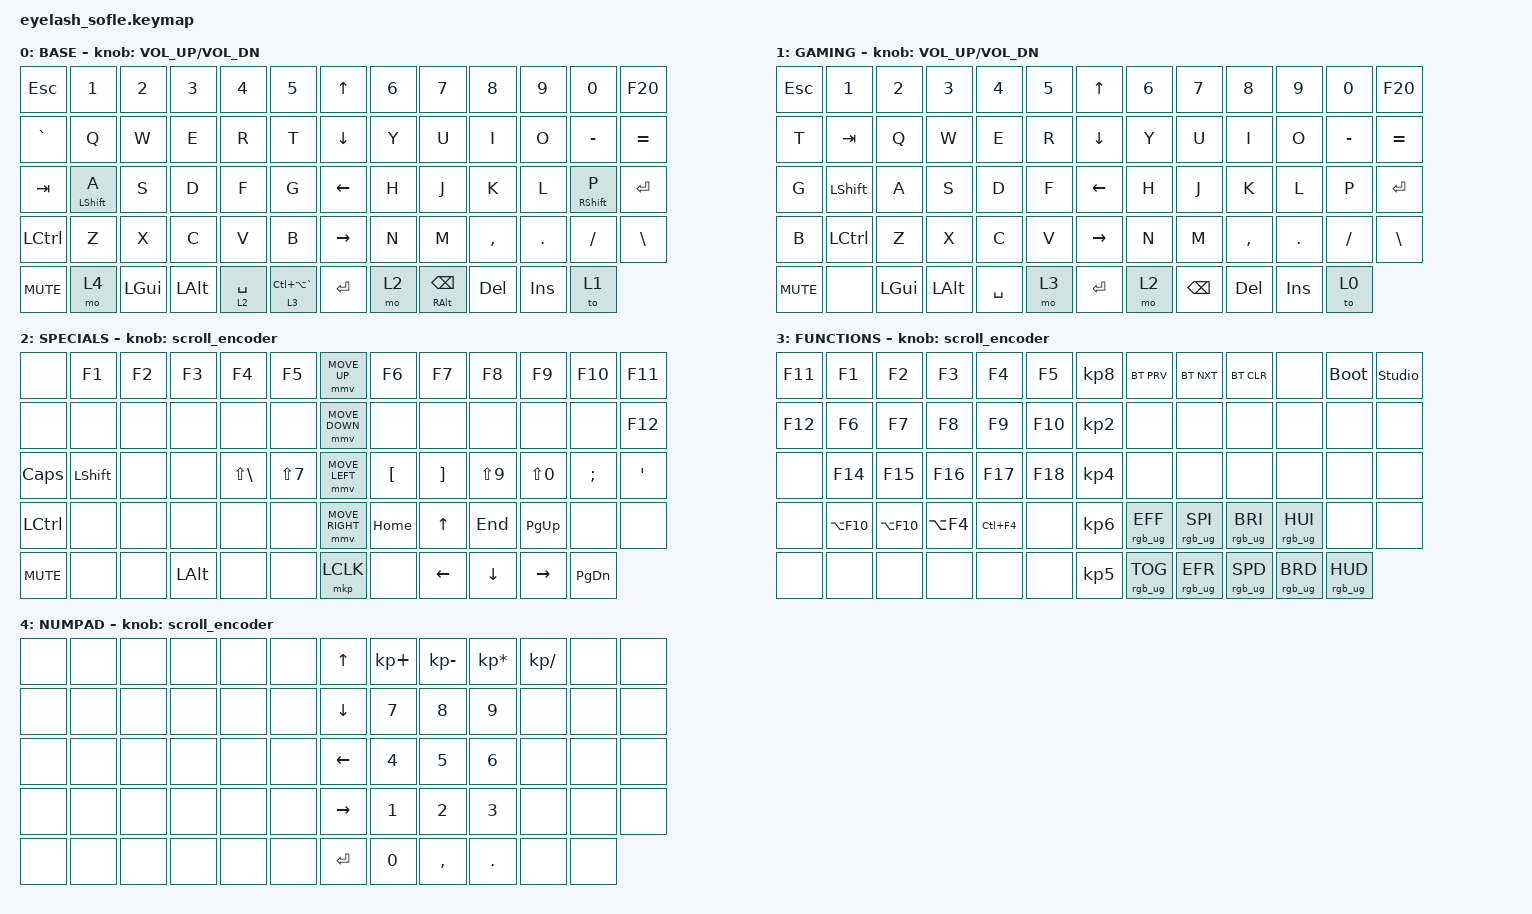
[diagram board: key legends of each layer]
#include <behaviors.dtsi>
#include <dt-bindings/zmk/bt.h>
#include <dt-bindings/zmk/keys.h>
#include <dt-bindings/zmk/mouse.h>
#include <dt-bindings/zmk/outputs.h>
#include <dt-bindings/zmk/rgb.h>

#include <input/processors.dtsi>

/*

   &mmv_input_listener {
       input-processors = <&zip_xy_scaler 2 1>;
   };

   &msc_input_listener {
       input-processors = <&zip_xy_scaler 2 1>;
   };

 */

#define ZMK_MOUSE_DEFAULT_MOVE_VAL 1200  // 600
#define ZMK_MOUSE_DEFAULT_SCRL_VAL 20    // 10


/ {
    behaviors {
        mmv {
            acceleration-exponent = <1>;      // 1
            time-to-max-speed-ms = <900>;    // 40
            delay-ms = <0>;                   // 0
        };

        msc {
            acceleration-exponent = <1>;      // 0
            time-to-max-speed-ms = <400>;      // 500
            delay-ms = <0>;                   //   10
        };
    };

    scroll_encoder: scroll_encoder {
        compatible = "zmk,behavior-sensor-rotate";
        #sensor-binding-cells = <0>;
        bindings = <&msc SCRL_DOWN>, <&msc SCRL_UP>;

        tap-ms = <30>;
    };

    keymap {
        compatible = "zmk,keymap";

        layer_0 {
            bindings = <
&kp ESC     &kp N1       &kp N2    &kp N3    &kp N4       &kp N5               &kp UP_ARROW     &kp N6  &kp N7         &kp N8     &kp N9     &kp N0       &kp F20
&kp GRAVE   &kp Q        &kp W     &kp E     &kp R        &kp T                &kp DOWN_ARROW   &kp Y   &kp U          &kp I      &kp O      &kp MINUS    &kp EQUAL
&kp TAB     &mt LSHFT A  &kp S     &kp D     &kp F        &kp G                &kp LEFT_ARROW   &kp H   &kp J          &kp K      &kp L      &mt RSHFT P  &kp ENTER
&kp LCTRL   &kp Z        &kp X     &kp C     &kp V        &kp B                &kp RIGHT_ARROW  &kp N   &kp M          &kp COMMA  &kp DOT    &kp FSLH     &kp BSLH
&kp C_MUTE  &mo 4        &kp LGUI  &kp LALT  &lt 2 SPACE  &lt 3 LC(LA(GRAVE))  &kp ENTER        &mo 2   &mt RALT BSPC  &kp DEL    &kp INS    &to 1
            >;

            display-name = "BASE";
            sensor-bindings = <&inc_dec_kp C_VOLUME_UP C_VOL_DN>;
        };

        layer_1 {
            bindings = <
&kp ESC     &kp N1     &kp N2    &kp N3    &kp N4     &kp N5  &kp UP_ARROW     &kp N6  &kp N7    &kp N8     &kp N9     &kp N0     &kp F20
&kp T       &kp TAB    &kp Q     &kp W     &kp E      &kp R   &kp DOWN_ARROW   &kp Y   &kp U     &kp I      &kp O      &kp MINUS  &kp EQUAL
&kp G       &kp LSHFT  &kp A     &kp S     &kp D      &kp F   &kp LEFT_ARROW   &kp H   &kp J     &kp K      &kp L      &kp P      &kp ENTER
&kp B       &kp LCTRL  &kp Z     &kp X     &kp C      &kp V   &kp RIGHT_ARROW  &kp N   &kp M     &kp COMMA  &kp DOT    &kp FSLH   &kp BSLH
&kp C_MUTE  &none      &kp LGUI  &kp LALT  &kp SPACE  &mo 3   &kp ENTER        &mo 2   &kp BSPC  &kp DEL    &kp INS    &to 0
            >;

            display-name = "GAMING";
            sensor-bindings = <&inc_dec_kp C_VOLUME_UP C_VOL_DN>;
        };

        layer_2 {
            bindings = <
&none       &kp F1     &kp F2  &kp F3        &kp F4        &kp F5      &mmv MOVE_UP     &kp F6    &kp F7    &kp F8      &kp F9      &kp F10    &kp F11
&none       &none      &none   &none         &none         &none       &mmv MOVE_DOWN   &none     &none     &none       &none       &none      &kp F12
&kp CAPS    &kp LSHFT  &none   &none  &kp LS(BSLH)  &kp LS(N7)  &mmv MOVE_LEFT   &kp LBKT  &kp RBKT  &kp LS(N9)  &kp LS(N0)  &kp SEMI   &kp APOS
&kp LCTRL   &none      &none   &none         &none         &none       &mmv MOVE_RIGHT  &kp HOME  &kp UP    &kp END     &kp PG_UP   &none      &none
&kp C_MUTE  &none      &none   &kp LALT      &none         &none       &mkp LCLK        &none     &kp LEFT  &kp DOWN    &kp RIGHT   &kp PG_DN 
            >;

            display-name = "SPECIALS";
            sensor-bindings = <&scroll_encoder>;
        };

        layer_3 {
            bindings = <
&kp F11  &kp F1       &kp F2       &kp F3       &kp F4      &kp F5   &kp KP_N8  &bt BT_PRV       &bt BT_NXT       &bt BT_CLR       &none            &bootloader      &studio_unlock
&kp F12  &kp F6       &kp F7       &kp F8       &kp F9      &kp F10  &kp KP_N2  &none            &none            &none            &none            &none            &none
&none    &kp F14      &kp F15      &kp F16      &kp F17     &kp F18  &kp KP_N4  &none            &none            &none            &none            &none            &none
&none    &kp LA(F10)  &kp LA(F10)  &kp LA(F4)   &kp LC(F4)  &none    &kp KP_N6  &rgb_ug RGB_EFF  &rgb_ug RGB_SPI  &rgb_ug RGB_BRI  &rgb_ug RGB_HUI  &none            &none
&none    &none        &none        &none        &none       &none    &kp KP_N5  &rgb_ug RGB_TOG  &rgb_ug RGB_EFR  &rgb_ug RGB_SPD  &rgb_ug RGB_BRD  &rgb_ug RGB_HUD
            >;

            display-name = "FUNCTIONS";
            sensor-bindings = <&scroll_encoder>;
        };

        layer_4 {
            bindings = <
&none  &none  &none  &none  &none  &none  &kp UP_ARROW     &kp KP_PLUS  &kp KP_SUBTRACT  &kp KP_MULTIPLY  &kp KP_DIVIDE  &none  &none
&none  &none  &none  &none  &none  &none  &kp DOWN_ARROW   &kp N7       &kp N8           &kp N9           &none          &none  &none
&none  &none  &none  &none  &none  &none  &kp LEFT_ARROW   &kp N4       &kp N5           &kp N6           &none          &none  &none
&none  &none  &none  &none  &none  &none  &kp RIGHT_ARROW  &kp N1       &kp N2           &kp N3           &none          &none  &none
&none  &none  &none  &none  &none  &none  &kp ENTER        &kp N0       &kp COMMA        &kp DOT          &none          &none
            >;

            display-name = "NUMPAD";
            sensor-bindings = <&scroll_encoder>;
        };
    };
};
